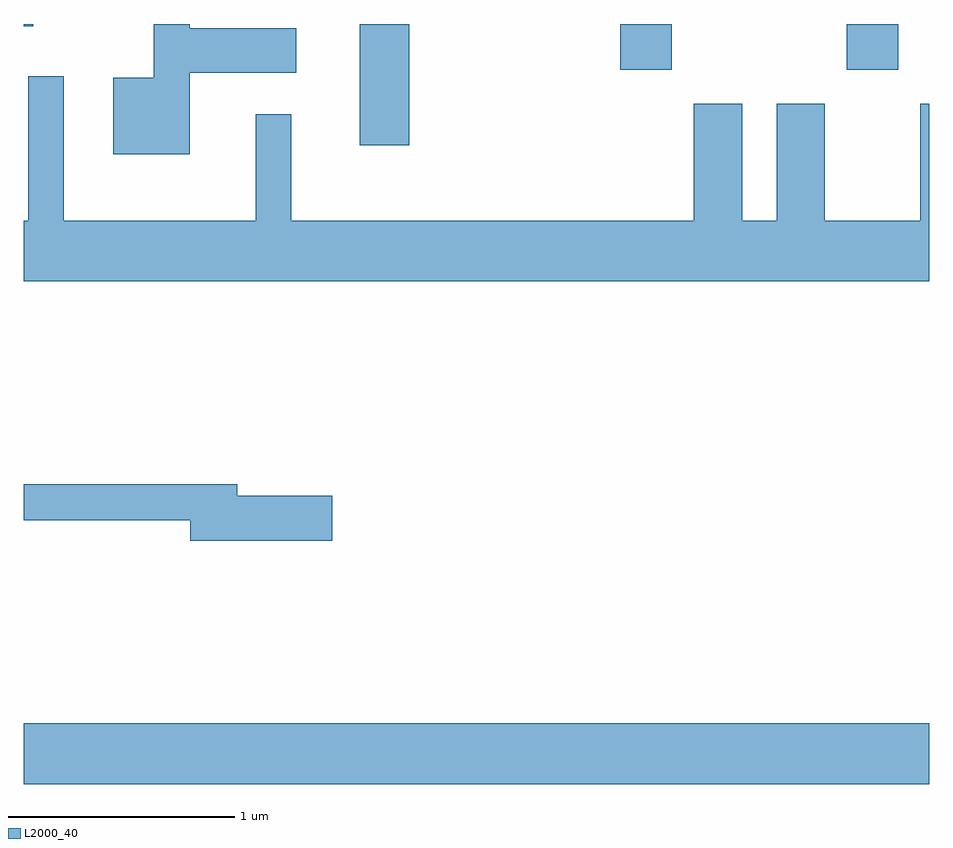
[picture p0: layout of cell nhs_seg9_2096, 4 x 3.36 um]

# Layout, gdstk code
import gdstk
lib = gdstk.Library(unit=1e-6, precision=1e-09)
def R(c, l, rs):  # rectangles x0, y0, x1, y1
    for r in rs: c.add(gdstk.rectangle(r[:2], r[2:], *l))
def P(c, l, *ps):  # polygons
    for p in ps: c.add(gdstk.Polygon(p, *l))
L2000_40 = (2000, 40)

nhs_seg9_2096 = lib.new_cell('nhs_seg9_2096')
R(nhs_seg9_2096, L2000_40, [(245.611,2065.076,249.611,2065.344), (247.096,2067.896,247.314,2068.432), (248.246,2068.231,248.474,2068.432), (249.246,2068.231,249.474,2068.432), (245.611,2068.421,245.654,2068.432)])
P(nhs_seg9_2096, L2000_40, [(246.344,2068.216),(246.814,2068.216),(246.814,2068.414),(246.344,2068.414),(246.344,2068.432),(246.186,2068.432),(246.186,2068.194),(246.006,2068.194),(246.006,2067.856),(246.344,2067.856)],
  [(249.611,2068.079),(249.571,2068.079),(249.571,2067.564),(249.149,2067.564),(249.149,2068.079),(248.936,2068.079),(248.936,2067.564),(248.784,2067.564),(248.784,2068.079),(248.571,2068.079),(248.571,2067.564),(246.794,2067.564),(246.794,2068.033),(246.636,2068.033),(246.636,2067.564),(245.789,2067.564),(245.789,2068.202),(245.631,2068.202),(245.631,2067.564),(245.611,2067.564),(245.611,2067.296),(249.611,2067.296)],
  [(246.974,2066.349),(246.554,2066.349),(246.554,2066.399),(245.611,2066.399),(245.611,2066.241),(246.346,2066.241),(246.346,2066.151),(246.974,2066.151)])

lib.write_gds('nhs_seg9_2096.gds')
